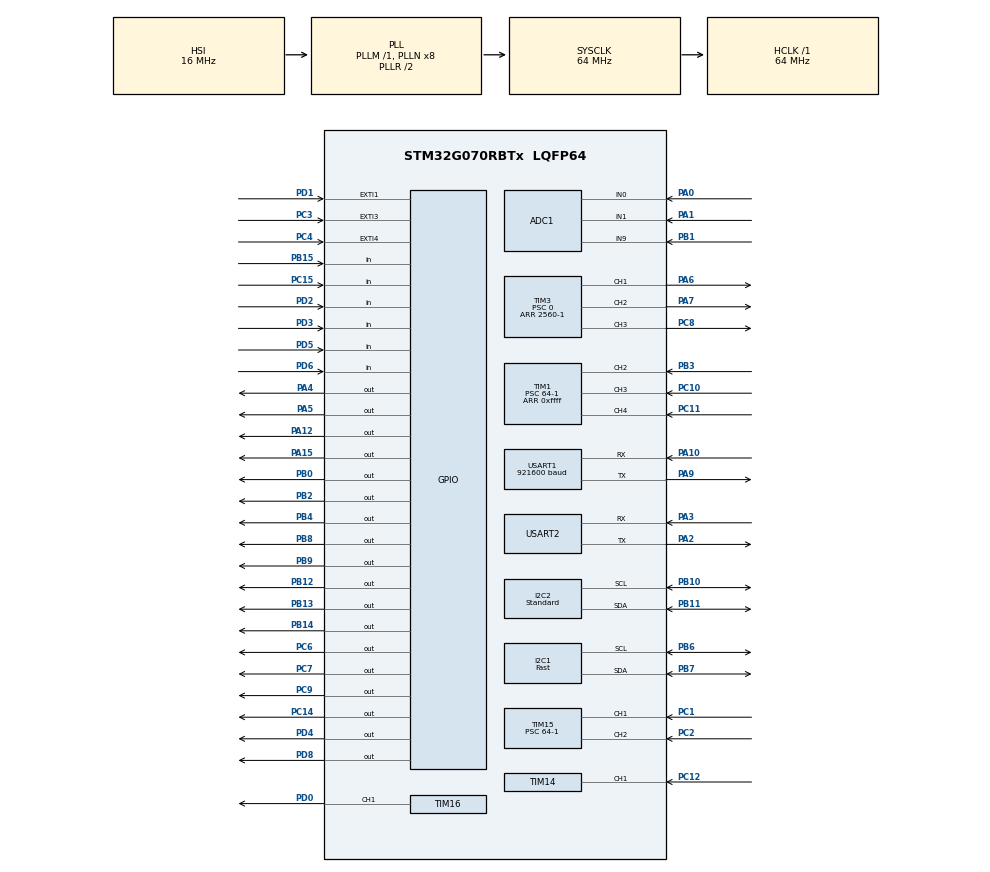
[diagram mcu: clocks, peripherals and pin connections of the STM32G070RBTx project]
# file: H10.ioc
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ADC1.Channel-14\#ChannelRegularConversion=ADC_CHANNEL_9
ADC1.Channel-17\#ChannelRegularConversion=ADC_CHANNEL_0
ADC1.Channel-18\#ChannelRegularConversion=ADC_CHANNEL_1
ADC1.ClockPrescaler=ADC_CLOCK_SYNC_PCLK_DIV2
ADC1.ContinuousConvMode=ENABLE
ADC1.DMAContinuousRequests=ENABLE
ADC1.DiscontinuousConvMode=DISABLE
ADC1.NbrOfConversion=3
ADC1.NbrOfConversionFlag=1
ADC1.Rank-14\#ChannelRegularConversion=1
ADC1.Rank-17\#ChannelRegularConversion=2
ADC1.Rank-18\#ChannelRegularConversion=3
ADC1.SamplingTime-14\#ChannelRegularConversion=ADC_SAMPLINGTIME_COMMON_1
ADC1.SamplingTime-17\#ChannelRegularConversion=ADC_SAMPLINGTIME_COMMON_1
ADC1.SamplingTime-18\#ChannelRegularConversion=ADC_SAMPLINGTIME_COMMON_1
ADC1.SamplingTimeCommon1=ADC_SAMPLETIME_39CYCLES_5
ADC1.SamplingTimeCommon2=ADC_SAMPLETIME_19CYCLES_5
ADC1.master=1
Dma.ADC1.1.Direction=DMA_PERIPH_TO_MEMORY
Dma.ADC1.1.EventEnable=DISABLE
Dma.ADC1.1.Instance=DMA1_Channel2
Dma.ADC1.1.MemDataAlignment=DMA_MDATAALIGN_HALFWORD
Dma.ADC1.1.MemInc=DMA_MINC_ENABLE
Dma.ADC1.1.Mode=DMA_NORMAL
Dma.ADC1.1.PeriphDataAlignment=DMA_PDATAALIGN_HALFWORD
Dma.ADC1.1.PeriphInc=DMA_PINC_DISABLE
Dma.ADC1.1.Polarity=HAL_DMAMUX_REQ_GEN_RISING
Dma.ADC1.1.Priority=DMA_PRIORITY_LOW
Dma.ADC1.1.RequestNumber=1
Dma.ADC1.1.SignalID=NONE
Dma.ADC1.1.SyncEnable=DISABLE
Dma.ADC1.1.SyncPolarity=HAL_DMAMUX_SYNC_NO_EVENT
Dma.ADC1.1.SyncRequestNumber=1
Dma.ADC1.1.SyncSignalID=NONE
Dma.Request0=USART1_RX
Dma.Request1=ADC1
Dma.USART1_RX.0.Direction=DMA_PERIPH_TO_MEMORY
Dma.USART1_RX.0.EventEnable=DISABLE
Dma.USART1_RX.0.Instance=DMA1_Channel1
Dma.USART1_RX.0.MemDataAlignment=DMA_MDATAALIGN_BYTE
Dma.USART1_RX.0.MemInc=DMA_MINC_ENABLE
Dma.USART1_RX.0.Mode=DMA_NORMAL
Dma.USART1_RX.0.PeriphDataAlignment=DMA_PDATAALIGN_BYTE
Dma.USART1_RX.0.PeriphInc=DMA_PINC_DISABLE
Dma.USART1_RX.0.Polarity=HAL_DMAMUX_REQ_GEN_RISING
Dma.USART1_RX.0.Priority=DMA_PRIORITY_LOW
Dma.USART1_RX.0.RequestNumber=1
Dma.USART1_RX.0.SignalID=NONE
Dma.USART1_RX.0.SyncEnable=DISABLE
Dma.USART1_RX.0.SyncPolarity=HAL_DMAMUX_SYNC_NO_EVENT
Dma.USART1_RX.0.SyncRequestNumber=1
Dma.USART1_RX.0.SyncSignalID=NONE
I2C1.I2C_Speed_Mode=I2C_Fast
I2C1.Timing=0x00602173
I2C2.I2C_Speed_Mode=I2C_Standard
I2C2.Timing=0x10707DBC
IWDG.Prescaler=IWDG_PRESCALER_32
Mcu.Family=STM32G0
Mcu.Name=STM32G070RBTx
Mcu.Package=LQFP64
NRST.Signal=GPXTINRST
NVIC.DMA1_Channel1_IRQn=true\:2\:0\:true\:false\:true\:false\:true
NVIC.DMA1_Channel2_3_IRQn=true\:0\:0\:true\:false\:true\:false\:true
NVIC.EXTI0_1_IRQn=true\:0\:0\:false\:false\:true\:true\:true
NVIC.EXTI2_3_IRQn=true\:0\:0\:false\:false\:true\:true\:true
NVIC.EXTI4_15_IRQn=true\:0\:0\:false\:false\:true\:true\:true
NVIC.TIM14_IRQn=true\:0\:0\:false\:false\:true\:true\:true
NVIC.TIM15_IRQn=true\:0\:0\:false\:false\:true\:true\:true
NVIC.TIM16_IRQn=true\:0\:0\:false\:false\:true\:true\:true
NVIC.TIM1_CC_IRQn=true\:0\:0\:false\:false\:true\:true\:true
NVIC.TIM6_IRQn=true\:0\:0\:false\:false\:true\:true\:true
NVIC.USART1_IRQn=true\:1\:0\:true\:false\:true\:true\:true
PA0.Mode=IN0
PA0.Signal=ADC1_IN0
PA1.Mode=IN1
PA1.Signal=ADC1_IN1
PA10.Mode=Asynchronous
PA10.Signal=USART1_RX
PA12\ [PA10].Signal=GPIO_Output
PA13.Mode=Serial_Wire
PA13.Signal=SYS_SWDIO
PA14-BOOT0.Mode=Serial_Wire
PA14-BOOT0.Signal=SYS_SWCLK
PA15.Signal=GPIO_Output
PA2.Mode=Asynchronous
PA2.Signal=USART2_TX
PA3.Mode=Asynchronous
PA3.Signal=USART2_RX
PA4.Signal=GPIO_Output
PA5.Signal=GPIO_Output
PA6.Signal=S_TIM3_CH1
PA7.Signal=S_TIM3_CH2
PA9.Mode=Asynchronous
PA9.Signal=USART1_TX
PB0.Signal=GPIO_Output
PB1.Mode=IN9
PB1.Signal=ADC1_IN9
PB10.Mode=I2C
PB10.Signal=I2C2_SCL
PB11.Mode=I2C
PB11.Signal=I2C2_SDA
PB12.Signal=GPIO_Output
PB13.Signal=GPIO_Output
PB14.Signal=GPIO_Output
PB15.Signal=GPIO_Input
PB2.Signal=GPIO_Output
PB3.GPIO_PuPd=GPIO_NOPULL
PB3.GPIO_Speed=GPIO_SPEED_FREQ_LOW
PB3.Signal=S_TIM1_CH2
PB4.Signal=GPIO_Output
PB6.Mode=I2C
PB6.Signal=I2C1_SCL
PB7.Mode=I2C
PB7.Signal=I2C1_SDA
PB8.Signal=GPIO_Output
PB9.Signal=GPIO_Output
PC1.Signal=S_TIM15_CH1
PC10.GPIO_PuPd=GPIO_NOPULL
PC10.GPIO_Speed=GPIO_SPEED_FREQ_LOW
PC10.Signal=S_TIM1_CH3
PC11.GPIO_PuPd=GPIO_NOPULL
PC11.GPIO_Speed=GPIO_SPEED_FREQ_LOW
PC11.Signal=S_TIM1_CH4
PC12.Signal=S_TIM14_CH1
PC14-OSC32_IN\ (PC14).Signal=GPIO_Output
PC15-OSC32_OUT\ (PC15).GPIO_PuPd=GPIO_PULLDOWN
PC15-OSC32_OUT\ (PC15).Signal=GPIO_Input
PC2.Signal=S_TIM15_CH2
PC3.GPIO_ModeDefaultEXTI=GPIO_MODE_IT_RISING
PC3.Signal=GPXTI3
PC4.GPIO_ModeDefaultEXTI=GPIO_MODE_IT_RISING
PC4.Signal=GPXTI4
PC6.PinState=GPIO_PIN_RESET
PC6.Signal=GPIO_Output
PC7.Signal=GPIO_Output
PC8.Signal=S_TIM3_CH3
PC9.PinState=GPIO_PIN_SET
PC9.Signal=GPIO_Output
PD0.Signal=S_TIM16_CH1
PD1.GPIO_ModeDefaultEXTI=GPIO_MODE_IT_FALLING
PD1.GPIO_PuPd=GPIO_PULLUP
PD1.Signal=GPXTI1
PD2.Signal=GPIO_Input
PD3.Signal=GPIO_Input
PD4.Signal=GPIO_Output
PD5.Signal=GPIO_Input
PD6.GPIO_PuPd=GPIO_NOPULL
PD6.Signal=GPIO_Input
PD8.Signal=GPIO_Output
ProjectManager.HeapSize=0x200
ProjectManager.StackSize=0x400
ProjectManager.TargetToolchain=MDK-ARM V5
RCC.ADCFreq_Value=64000000
RCC.AHBFreq_Value=64000000
RCC.CortexFreq_Value=64000000
RCC.EXTERNAL_CLOCK_VALUE=48000
RCC.HCLKFreq_Value=64000000
RCC.HSE_VALUE=8000000
RCC.HSI_VALUE=16000000
RCC.LSE_VALUE=32768
RCC.SYSCLKFreq_VALUE=64000000
RCC.SYSCLKSource=RCC_SYSCLKSOURCE_PLLCLK
RCC.VCOOutputFreq_Value=128000000
SH.S_TIM14_CH1.0=TIM14_CH1,Input_Capture1_from_TI1
SH.S_TIM15_CH1.0=TIM15_CH1,Input_Capture1_from_TI1
SH.S_TIM15_CH2.0=TIM15_CH2,Input_Capture2_from_TI2
SH.S_TIM16_CH1.0=TIM16_CH1,PWM Generation1 CH1
SH.S_TIM1_CH2.0=TIM1_CH2,Input_Capture2_from_TI2
SH.S_TIM1_CH3.0=TIM1_CH3,Input_Capture3_from_TI3
SH.S_TIM1_CH4.0=TIM1_CH4,Input_Capture4_from_TI4
SH.S_TIM3_CH1.0=TIM3_CH1,PWM Generation1 CH1
SH.S_TIM3_CH2.0=TIM3_CH2,PWM Generation2 CH2
SH.S_TIM3_CH3.0=TIM3_CH3,PWM Generation3 CH3
TIM1.Channel-Input_Capture2_from_TI2=TIM_CHANNEL_2
TIM1.Channel-Input_Capture3_from_TI3=TIM_CHANNEL_3
TIM1.Channel-Input_Capture4_from_TI4=TIM_CHANNEL_4
TIM1.Period=0xffff
TIM1.Prescaler=64-1
TIM14.Channel=TIM_CHANNEL_1
TIM14.Period=0xffff
TIM14.Prescaler=64-1
TIM15.Channel-Input_Capture1_from_TI1=TIM_CHANNEL_1
TIM15.Channel-Input_Capture2_from_TI2=TIM_CHANNEL_2
TIM15.Period=0xffff
TIM15.Prescaler=64-1
TIM16.Channel=TIM_CHANNEL_1
TIM16.Period=1000-1
TIM16.Prescaler=64-1
TIM16.Pulse=500
TIM3.Channel-PWM\ Generation1\ CH1=TIM_CHANNEL_1
TIM3.Channel-PWM\ Generation2\ CH2=TIM_CHANNEL_2
TIM3.Channel-PWM\ Generation3\ CH3=TIM_CHANNEL_3
TIM3.Period=2560-1
TIM3.Prescaler=0
TIM6.Period=100-1
TIM6.Prescaler=32-1
USART1.BaudRate=921600
USART1.VirtualMode-Asynchronous=VM_ASYNC
USART1.WordLength=WORDLENGTH_8B
USART2.VirtualMode-Asynchronous=VM_ASYNC
USART2.WordLength=WORDLENGTH_8B
VP_IWDG_VS_IWDG.Mode=IWDG_Activate
VP_SYS_VS_DBSignals.Mode=DisableDeadBatterySignals
VP_TIM14_VS_ClockSourceINT.Mode=Enable_Timer
VP_TIM16_VS_ClockSourceINT.Mode=Enable_Timer
VP_TIM6_VS_ClockSourceINT.Mode=Enable_Timer
board=custom

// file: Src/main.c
/* USER CODE BEGIN Header */
/**
  ******************************************************************************
  * @file           : main.c
  * @brief          : Main program body
  ******************************************************************************
  * @attention
  *
  * <h2><center>&copy; Copyright (c) 2020 STMicroelectronics.
  * All rights reserved.</center></h2>
  *
  * This software component is licensed by ST under BSD 3-Clause license,
  * the "License"; You may not use this file except in compliance with the
  * License. You may obtain a copy of the License at:
  *                        opensource.org/licenses/BSD-3-Clause
  *
  ******************************************************************************
  */
/* USER CODE END Header */

#include "main.h"
#include "adc.h"
#include "dma.h"
#include "i2c.h"
#include "iwdg.h"
#include "tim.h"
#include "usart.h"
#include "gpio.h"

/* USER CODE BEGIN Includes */
#include "serial_communication.h"
/* USER CODE END Includes */

/* USER CODE BEGIN PD */
#define TIME_BASE_TIMER         (50)
#define TIME_BASE_50US_1MS    	(1000  / TIME_BASE_TIMER)
#define TIME_BASE_50US_4MS    	(4000  / TIME_BASE_TIMER)
#define TIME_BASE_50US_8MS    	(8000  / TIME_BASE_TIMER)
#define TIME_BASE_50US_16MS     (16000  / TIME_BASE_TIMER)
#define TIME_BASE_50US_24MS     (24000  / TIME_BASE_TIMER)
#define TIME_BASE_50US_32MS     (32000  / TIME_BASE_TIMER)
#define TIME_BASE_50US_64MS     (64000  / TIME_BASE_TIMER)
#define TIME_BASE_50US_256MS    (256000  / TIME_BASE_TIMER)
#define TIME_BASE_50US_512MS    (512000  / TIME_BASE_TIMER)
#define TIME_BASE_50US_1S       (1000000 / TIME_BASE_TIMER)
#define TIME_BASE_50US_5S       (5384000 / TIME_BASE_TIMER)
#define TIME_BASE_50US_10S      (10000000/ TIME_BASE_TIMER)
#define TIME_BASE_50US_20S      (20000000/ TIME_BASE_TIMER)
#define TIME_BASE_50US_30S      (30000000/ TIME_BASE_TIMER)
/* USER CODE END PD */

/* USER CODE BEGIN PV */
volatile uint32_t CounterBaseStep;
volatile uint32_t Counter1ms = 0;
volatile uint32_t Counter4ms = 0;
volatile uint32_t Counter8ms = 0;
volatile uint32_t Counter16ms = 0;
volatile uint32_t Counter24ms = 0;
volatile uint32_t Counter32ms = 0;
volatile uint32_t Counter64ms = 0;
volatile uint32_t Counter256ms = 0;
volatile uint32_t Counter512ms = 0;
volatile uint32_t Counter1s = 0;
volatile uint32_t Counter5s = 0;
volatile uint32_t Counter20s = 0;
volatile uint32_t CounterBaseStep = 0;
volatile uint32_t LedCounter = 0;

volatile _Bool Flag1ms = 0;
volatile _Bool Flag4ms = 0;
volatile _Bool Flag8ms = 0;
volatile _Bool Flag16ms = 0;
volatile _Bool Flag24ms = 0;
volatile _Bool Flag32ms = 0;
volatile _Bool Flag64ms = 0;
volatile _Bool Flag256ms = 0;
volatile _Bool Flag512ms = 0;
volatile _Bool Flag1s = 0;
volatile _Bool Flag5s = 0;
volatile _Bool Flag20s = 0;

volatile _Bool Flag_Sxrd241_Alarm = 0;
volatile _Bool Flag_Projector_On = 1;
volatile _Bool Flag_Lvds_Clk_Stb = 1;
volatile _Bool Flag_LT9211_Int = 0;
volatile _Bool g_FanNOFlag = 1;
volatile _Bool g_FanMode = 0;
volatile _Bool g_UserDisplayOff = 0;
volatile _Bool Flag_MatMode = 0;
volatile _Bool FlagIwdg = 1;
uint16_t g_overtemp_cnt = 0;
uint16_t g_temp52_cnt = 0;
_Bool g_overtemp_flag = 1;
_Bool g_temp52_flag = 1;

void Fan_Auto_Control(void);
void SysTaskDispatch(void);
extern void Variables_Init(void);
extern void ThreePhaseMotorDriver_init(void);
extern void LcosSetKst(void);
extern void LcosSetWP(void);
extern void LcosSetIntBCHS(void);
extern void LcosSetGain(void);
extern void LcosSetFlip(void);
extern void LcosInitWec(void);
extern void LcosInitCSCO(void);
extern void f(void);
extern void LcosInitSHP(void);
extern void GetParameter(void);
extern void GetColorTempParameter(void);
extern void ReceiveUart1Data(void);
extern HAL_StatusTypeDef SetBootPinMode(void);
extern void Lcos_CheckRegError(uint8_t local);
extern 	uint8_t GetFanSpeed(void);
extern void MotorLimit_DealWith(uint8_t lr);
extern uint8_t Motor_start(uint8_t dir, uint16_t steps);
extern void UartCommandParser(void);
extern void LcosSetColorTempBlock(void);
extern void LcosSetBchs(void);
extern void LcosSetCe1d(void);
extern void LcosSetCebc(void);
extern void LcosSetCeacc(void);
extern void LcosInitDIZ(void);
extern void LcosInitLED();
extern uint8_t getIwdgFlag(void);
#ifdef CONFIG_AD5316R_CURRENT
extern void SetRGBCurrentAD5316R(void);
#endif
/* USER CODE END PV */

void SystemClock_Config(void);

/* USER CODE BEGIN 0 */
void FanInit(void)
{
	SetFan12Speed(FAN_SPEED_DEFAULT_L);
	SetFan34Speed(FAN_SPEED_DEFAULT_R);
	SetFan5Speed(FAN_SPEED_DEFAULT_O);
}

void SetRGB_Enable(GPIO_PinState value)
{
	HAL_GPIO_WritePin(GPIOB, GPIO_PIN_0, value); //LD_EN enable LD DC-DC EN
}

void 	display_on(uint16_t on)
{
	if(on==1)
	{
		SetRGB_Enable(GPIO_PIN_SET);
		FanInit();
	}
	else
	{
		SetRGB_Enable(GPIO_PIN_RESET);
	}
}

void GpioConfig(void)
{
  HAL_GPIO_WritePin(GPIOB, GPIO_PIN_2, GPIO_PIN_SET);    //FAN_OFF enable Fan
  HAL_GPIO_WritePin(GPIOB, GPIO_PIN_14, GPIO_PIN_SET);    //CX3554_3V3_EN
	LcosVideoMute(VIDEO_UNMUTE);
}

void LT89121_Reset(void)
{
	HAL_GPIO_WritePin(GPIOC, GPIO_PIN_14, GPIO_PIN_RESET);
	HAL_Delay(20);
	HAL_GPIO_WritePin(GPIOC, GPIO_PIN_14, GPIO_PIN_SET); //LT89121 reset
}

#define CONFIG_IWDG

/* USER CODE END 0 */

int main(void)
{

  /* MCU Configuration--------------------------------------------------------*/

  /* Reset of all peripherals, Initializes the Flash interface and the Systick. */
  HAL_Init();

  /* Configure the system clock */
  SystemClock_Config();

  /* Initialize all configured peripherals */
  MX_GPIO_Init();
  MX_DMA_Init();
  MX_TIM6_Init();
  MX_TIM3_Init();
  MX_USART1_UART_Init();
  MX_USART2_UART_Init();
  MX_ADC1_Init();
  MX_I2C1_Init();
  MX_TIM15_Init();
  MX_I2C2_Init();
  MX_TIM1_Init();
  MX_TIM16_Init();
  //MX_IWDG_Init();
  MX_TIM14_Init();
  /* USER CODE BEGIN 2 */
	/******************************************************************/
  GetParameter();
	GetColorTempParameter();

	Variables_Init();
  GpioConfig();
	FanInit();
	ThreePhaseMotorDriver_init();
  HAL_TIM_Base_Start_IT(&htim6);
	/******************************************************************/
#ifdef CONFIG_AD5316R_CURRENT
		SetRGBCurrentAD5316R();
#else
		SetRGBCurrent();
#endif
  LcosInitSequence();
  LcosSetPatternSize();
  LcosSetIntPattern();
	LcosSetIntBCHS();
	/******************************************************************/
#ifdef CONFIG_GRGBBGRG
	LcosInitLED();
#endif
	LcosInitCSCO();
	LcosInitSHP();
	LcosInitWec();
#ifdef CONFIG_GRGBBGRG
	LcosInitDIZ();
#endif
	/******************************************************************/
	LcosSetColorTempBlock();
	LcosSetKst();
	LcosSetWP();
	LcosSetBchs();
	LcosSetCe1d();
	LcosSetCebc();
#ifdef CONFIG_CEACC
	LcosSetCeacc();
#endif
	/******************************************************************/
	HAL_GPIO_WritePin(GPIOD,GPIO_PIN_1,GPIO_PIN_SET);//lt6911 reset pin should be set high.
	SetRGB_Enable(GPIO_PIN_SET); //LD_EN
	/******************************************************************/
	SetBootPinMode();
	ReceiveUart1Data();
#ifdef CONFIG_IWDG
	if(getIwdgFlag() != 0)
	{
		MX_IWDG_Init();
	}
#endif
  /* USER CODE END 2 */

  /* Infinite loop */
  /* USER CODE BEGIN WHILE */
	printf("LED : Q8WP, Version: %d.%d.%d \r\n", VERSION0, VERSION1, VERSION2);
	printf("BUILD_VERSION_DATE %s_%s\n", __DATE__, __TIME__);
  while (1)
  {
    /* USER CODE END WHILE */

    /* USER CODE BEGIN 3 */
    SysTaskDispatch();

#ifdef CONFIG_IWDG
		if(getIwdgFlag() != 0)
		{
			/* Refresh the IWDG 4S overflow*/
			HAL_IWDG_Refresh(&hiwdg);
		}
#endif
  }
  /* USER CODE END 3 */
}

void SystemClock_Config(void)
{
  RCC_OscInitTypeDef RCC_OscInitStruct = {0};
  RCC_ClkInitTypeDef RCC_ClkInitStruct = {0};
  RCC_PeriphCLKInitTypeDef PeriphClkInit = {0};

  /** Configure the main internal regulator output voltage
  */
  HAL_PWREx_ControlVoltageScaling(PWR_REGULATOR_VOLTAGE_SCALE1);
  /** Initializes the CPU, AHB and APB busses clocks
  */
  RCC_OscInitStruct.OscillatorType = RCC_OSCILLATORTYPE_HSI|RCC_OSCILLATORTYPE_LSI;
  RCC_OscInitStruct.HSIState = RCC_HSI_ON;
  RCC_OscInitStruct.HSIDiv = RCC_HSI_DIV1;
  RCC_OscInitStruct.HSICalibrationValue = RCC_HSICALIBRATION_DEFAULT;
  RCC_OscInitStruct.LSIState = RCC_LSI_ON;
  RCC_OscInitStruct.PLL.PLLState = RCC_PLL_ON;
  RCC_OscInitStruct.PLL.PLLSource = RCC_PLLSOURCE_HSI;
  RCC_OscInitStruct.PLL.PLLM = RCC_PLLM_DIV1;
  RCC_OscInitStruct.PLL.PLLN = 8;
  RCC_OscInitStruct.PLL.PLLP = RCC_PLLP_DIV2;
  RCC_OscInitStruct.PLL.PLLR = RCC_PLLR_DIV2;
  if (HAL_RCC_OscConfig(&RCC_OscInitStruct) != HAL_OK)
  {
    Error_Handler();
  }
  /** Initializes the CPU, AHB and APB busses clocks
  */
  RCC_ClkInitStruct.ClockType = RCC_CLOCKTYPE_HCLK|RCC_CLOCKTYPE_SYSCLK
                              |RCC_CLOCKTYPE_PCLK1;
  RCC_ClkInitStruct.SYSCLKSource = RCC_SYSCLKSOURCE_PLLCLK;
  RCC_ClkInitStruct.AHBCLKDivider = RCC_SYSCLK_DIV1;
  RCC_ClkInitStruct.APB1CLKDivider = RCC_HCLK_DIV1;

  if (HAL_RCC_ClockConfig(&RCC_ClkInitStruct, FLASH_LATENCY_2) != HAL_OK)
  {
    Error_Handler();
  }
  /** Initializes the peripherals clocks
  */
  PeriphClkInit.PeriphClockSelection = RCC_PERIPHCLK_USART1|RCC_PERIPHCLK_USART2
                              |RCC_PERIPHCLK_I2C1|RCC_PERIPHCLK_ADC;
  PeriphClkInit.Usart1ClockSelection = RCC_USART1CLKSOURCE_PCLK1;
  PeriphClkInit.Usart2ClockSelection = RCC_USART2CLKSOURCE_PCLK1;
  PeriphClkInit.I2c1ClockSelection = RCC_I2C1CLKSOURCE_PCLK1;
  PeriphClkInit.AdcClockSelection = RCC_ADCCLKSOURCE_SYSCLK;
  if (HAL_RCCEx_PeriphCLKConfig(&PeriphClkInit) != HAL_OK)
  {
    Error_Handler();
  }
}

/* USER CODE BEGIN 4 */

void HAL_GPIO_EXTI_Rising_Callback(uint16_t GPIO_Pin)
{
	printf("HAL_GPIO_EXTI_Rising_Callback: 0x%x \r\n", GPIO_Pin);

	if((GPIO_PIN_3 == GPIO_Pin)) /* LIMIT_L interrupt */
	{
			MotorLimit_DealWith(LIMIT_LEFT);
	}

	if((GPIO_PIN_4 == GPIO_Pin)) /*  LIMIT_R interrupt */
	{
			MotorLimit_DealWith(LIMIT_RIGHT);
	}

}

void HAL_GPIO_EXTI_Falling_Callback(uint16_t GPIO_Pin)
{
	uint8_t val;

	printf("HAL_GPIO_EXTI_Falling_Callback: 0x%x \r\n", GPIO_Pin);
	if((GPIO_PIN_15 == GPIO_Pin) && (0 == Flag_Sxrd241_Alarm)) /* SXRD241 SHORT DET interrupt */
	{
		val  = HAL_GPIO_ReadPin(GPIOB,GPIO_PIN_15);
		printf("HAL_GPIO_EXTI_Callback: PB15 val:0x%x \r\n", val);
		Flag_Sxrd241_Alarm = 1;
	}

#if 0
	if((GPIO_PIN_8 == GPIO_Pin)) /* PA8 LT9211 interrupt */
	{
		val = HAL_GPIO_ReadPin(GPIOD,GPIO_PIN_9);
		printf("HAL_GPIO_EXTI_Callback: PD9 val:0x%x \r\n", val);
		Flag_LT9211_Int = 1;
	}
#endif

#ifdef CONFIG_MAT
	if((GPIO_PIN_1 == GPIO_Pin)) /* PD1 MAT MODE		*/
	{
		val = HAL_GPIO_ReadPin(GPIOD,GPIO_PIN_1);
		printf("HAL_GPIO_EXTI_Callback: PD1 val:0x%x \r\n", val);
		Flag_MatMode = 1;
	}
#endif

}

void HAL_TIM_PeriodElapsedCallback(TIM_HandleTypeDef *htim)
{
  if(htim->Instance == htim6.Instance)
  {
			if(CounterBaseStep < 0xFFFFFFFF)
			{
				CounterBaseStep++;
			}
			else
			{
				CounterBaseStep = 0;
			}
			if(LedCounter > 0)
			{
				LedCounter--;
			}
			else
			{
				LedCounter = 0xFFFFFFFF;
			}

			if(TIME_BASE_50US_1MS == ++Counter1ms)
  	  {
				Flag1ms = 1;
				Counter1ms = 0;
  	  }

			if(TIME_BASE_50US_4MS == ++Counter4ms)
  	  {
				Flag4ms = 1;
				Counter4ms = 0;
  	  }

			if(TIME_BASE_50US_8MS == ++Counter8ms)
  	  {
				Flag8ms = 1;
				Counter8ms = 0;
  	  }

			if(TIME_BASE_50US_16MS == ++Counter16ms)
  	  {
				Flag16ms = 1;
				Counter16ms = 0;
  	  }

			if(TIME_BASE_50US_24MS == ++Counter24ms)
  	  {
				Flag24ms = 1;
				Counter24ms = 0;
  	  }
			if(TIME_BASE_50US_32MS == ++Counter32ms)
  	  {
				Flag32ms = 1;
				Counter32ms = 0;
  	  }
			if(TIME_BASE_50US_64MS == ++Counter64ms)
  	  {
				Flag64ms = 1;
				Counter64ms = 0;
  	  }

  	  if(TIME_BASE_50US_256MS == ++Counter256ms)
  	  {
				Flag256ms = 1;
				Counter256ms = 0;
  	  }
  	  if(TIME_BASE_50US_512MS == ++Counter512ms)
  	  {
				Flag512ms = 1;
				Counter512ms = 0;
  	  }
  	  if(TIME_BASE_50US_1S == ++Counter1s)
  	  {
				Flag1s = 1;
				Counter1s = 0;
  	  }
			if(TIME_BASE_50US_5S == ++Counter5s)
  	  {
				Flag5s = 1;
				Counter5s = 0;
  	  }
			if(TIME_BASE_50US_20S == ++Counter20s)
  	  {
				Flag20s = 1;
				Counter20s = 0;
  	  }
  }
}

/* 50us/step, 计时误差是50us*/
void Delay50Us(uint32_t timer)
{
  CounterBaseStep = 1;
  while(CounterBaseStep <= timer);
  return;
}

void SysTask0ms(void)
{

}

void SysTask1ms(void)
{

}

void SysTask4ms(void)
{
	UartCommandParser();
}
void SysTask8ms(void)
{

}

void SysTask16ms(void)
{
	Fan_Auto_Control();
}

void SysTask256ms(void)
{
	if(Flag_Projector_On == 0)
	{
		HAL_GPIO_TogglePin(GPIOB,GPIO_PIN_9);
	}
}

void SysTask512ms(void)
{

}

#ifdef CONFIG_MAT
int cnt_1s = 0;
_Bool Flag_Limit_OK = 1;
extern uint8_t LimitPosition;
#endif

void SysTask1s(void)
{
	if(Flag_Projector_On == 1)
	{
		HAL_GPIO_TogglePin(GPIOB,GPIO_PIN_9);
	}
/*************************MAT TEST *************************************/
#ifdef CONFIG_MAT
  static int flag_enter = 1;

	if(Flag_MatMode != 0 && flag_enter)
	{
		flag_enter = 0;
	}

	//motor test
	if(Flag_MatMode != 0 && Flag_Limit_OK)
	{
		if(cnt_1s == 0)
		{
			if(LimitPosition == LIMIT_LEFT)
				Motor_start(0, 10000);
			else
				Flag_Limit_OK = 0;
		}
		else if(cnt_1s == 5)
		{
			if(LimitPosition == LIMIT_RIGHT)
				Motor_start(1, 10000);
			else
				Flag_Limit_OK = 0;
		}

		cnt_1s++;
		if(cnt_1s == 10) cnt_1s = 0;
	}
#endif
}

void SysTask5s(void)
{

}
void SysTask20s(void)
{
	Fan_Auto_Control();
}
void SysTaskDispatch(void)
{
    SysTask0ms();
		if(Flag1ms)
		{
		   Flag1ms = 0;
		   SysTask1ms();
		}
		if(Flag4ms)
		{
		   Flag4ms = 0;
		   SysTask4ms();
		}
		if(Flag8ms)
		{
		   Flag8ms = 0;
		   SysTask8ms();
		}

		if(Flag16ms)
		{
		   Flag16ms = 0;
		   SysTask16ms();
		}
		if(Flag24ms)
		{
		   Flag24ms = 0;
		}
		if(Flag32ms)
		{
		   Flag32ms = 0;
		}
		if(Flag64ms)
		{
		   Flag64ms = 0;
		}
		if(Flag256ms)
		{
		   Flag256ms = 0;
			 SysTask256ms();
		}
		if(Flag512ms)
		{
		   Flag512ms = 0;
		   SysTask512ms();
		}
		if(Flag1s)
		{
		   Flag1s = 0;
		   SysTask1s();
		}
		if(Flag5s)
		{
		   Flag5s = 0;
		   SysTask5s();
		}
		if(Flag20s)
		{
		   Flag20s = 0;
		   SysTask20s();
		}
}
/*-------------------------------------------------------------------------------------------*/
const uint16_t LD_RT_TABLE[] =
{/* 0~55   45*/
	3318,  //0 degree
	3151,
	2993,
	2844,
	2703,
	2570,
	2444,
	2325,
	2213,
	2107,
	2007,
	1912,
	1822,
	1736,
	1656,
	1579,
	1507,
	1438,
	1373,
	1311,
	1252,
	1196,
	1144,
	1093,
	1045,
	1000,		//25
	957,
	916,
	877,
	839,
	804,
	770,
	738,
	708,
	679,
	651,
	624,
	599,
	575,
	552,
	530,
	509,
	489,
	470,
	452,
	434,
	417,
	401,
	386,
	372,
	358,
	344,
	332,
	319,
	308,
	296,  //55 degree
	286,
	275,
	265,
	256,
	247,
	238,
	230,
	222,
	214,
	207,
	199,
	193,
	186,
	180,
	174,
	168,
	162,
	157,
	152,
	147,
	142,
	137,
	133,
	129,
	125,
	121,
	117,
	113,
	110,
	106,
	103,
	100,
	97,
	94,
	91   //90 degree
};

uint16_t GetLd_RT_Temp(uint16_t adc_val)
{
	uint16_t ohm, i;

	ohm = (4096000/adc_val - 1000);
	if(ohm >  LD_RT_TABLE[0])
	{
		//printf("LD OHM:%d \r\n",ohm);
		if (ohm > 18744) return 50; //no ld RT register
		return 0;
	}

	for (i = 0; i < sizeof(LD_RT_TABLE)/sizeof(uint16_t); i++)
	{
		if(LD_RT_TABLE[i] < ohm ) break;
	}

	return i;
}

/* -10 ~ +60  Recommended temperature is +45 to +55 */
uint16_t GetLcos_RT_Temp(uint16_t adc_val)
{//temp = (1839 - vol)/11
	uint16_t vol;

	vol = (adc_val*3300)/4096;
	if(vol > 1839)
	{
		//printf("LCOS VOL:%d \r\n",vol);
		return 0;
	}

	return (1839 - vol)/11;
}
/*-------------------------------------------------------------------------------------------*/
//new fan parameter
const uint8_t LD_CTL_TABLE12[][2] =
{/* 0~55   45*/
	{41, FAN_SPEED_DEFAULT_L},
	{42, 40},
	{43, 40},
	{44, 40},
	{45, 40},
	{46, 40},
	{47, 40},
	{48, 40},
	{49, 40},
	{50, 40},
	{51, 40},
	{52, 40},
	{53, 40},
	{54, 40},
	{55, 40}
};

const uint8_t LD_CTL_TABLE34[][2] =
{/* 0~55   45*/
	{41, FAN_SPEED_DEFAULT_R},
	{42, 40},
	{43, 40},
	{44, 40},
	{45, 40},
	{46, 40},
	{47, 40},
	{48, 40},
	{49, 40},
	{50, 40},
	{51, 40},
	{52, 40},
	{53, 40},
	{54, 40},
	{55, 40}
};

uint8_t get_ld_fan12pwm(uint8_t temp)
{
	uint8_t i;
	static uint8_t s_pwm = 0, s_temp = 0;

	if(temp < LD_CTL_TABLE12[0][0]) return LD_CTL_TABLE12[0][1];

	if(temp == s_temp - 1 || temp == s_temp - 2)
	{
		return s_pwm;
	}

	for (i = 0; i < sizeof(LD_CTL_TABLE12)/sizeof(uint8_t)/2; i++)
	{
		if(LD_CTL_TABLE12[i][0] == temp )
		{
			s_temp = temp;
			s_pwm = LD_CTL_TABLE12[i][1];
			return s_pwm;
		}
	}

	s_temp = 55;
	return FAN_SPEED_FULL;
}

uint8_t get_ld_fan34pwm(uint8_t temp)
{
	uint8_t i;
	static uint8_t s_pwm = 0, s_temp = 0;

	if(temp < LD_CTL_TABLE34[0][0]) return LD_CTL_TABLE34[0][1];

	if(temp == s_temp - 1 || temp == s_temp - 2)
	{
		return s_pwm;
	}

	for (i = 0; i < sizeof(LD_CTL_TABLE34)/sizeof(uint8_t)/2; i++)
	{
		if(LD_CTL_TABLE34[i][0] == temp )
		{
			s_temp = temp;
			s_pwm = LD_CTL_TABLE34[i][1];
			return s_pwm;
		}
	}

	s_temp = 55;
	return FAN_SPEED_FULL;
}

const uint8_t LCOS_CTL_TABLE[][2] =
{/*-10~60    +45 to +55 */
	{44, FAN_SPEED_DEFAULT_O},
	{45, FAN_SPEED_DEFAULT_O},
	{46, FAN_SPEED_DEFAULT_O},
	{47, FAN_SPEED_DEFAULT_O},
	{48, FAN_SPEED_DEFAULT_O},
	{49, FAN_SPEED_DEFAULT_O},
	{50, FAN_SPEED_DEFAULT_O},
	{51, 40},
	{52, 50},
	{53, 50},
	{54, 60},
	{55, 70},
	{56, 80},
	{57, 90},
	{58, 100},
	{59, 100},
	{60, 100}
};

uint8_t get_lcos_fanpwm(uint8_t temp)
{
	uint8_t i;

	if(temp < LCOS_CTL_TABLE[0][0]) return LCOS_CTL_TABLE[0][1];

	for (i = 0; i < sizeof(LCOS_CTL_TABLE)/sizeof(uint8_t)/2; i++)
	{
		if(LCOS_CTL_TABLE[i][0] == temp ) return LCOS_CTL_TABLE[i][1];
	}

	return FAN_SPEED_FULL;
}
#define TEMP_OVER_CNT   	3   //1min
#define TEMP_CLOSE_CNT   	9   //3min
void Fan_Auto_Control(void)
{
	uint16_t ld_adc = 0, lcos_adc = 0;
	uint16_t adc_val[3];
	uint16_t ld_temp, lcos_temp;
	uint8_t fan12pwm, fan34pwm, fan5pwm;

	ld_adc = adc_GetAdcVal(adc_val);
	lcos_adc = adc_val[2];
	ld_temp = GetLd_RT_Temp(ld_adc);
	lcos_temp = GetLcos_RT_Temp(lcos_adc);
	//printf("g_FanMode %d, LD_TEMP:%d LCOS_TEMP:%d  LD ADC:%d  LCOS ADC:%d \r\n", g_FanMode, ld_temp, lcos_temp, ld_adc, lcos_adc);
	//GetFanSpeed();
#if 1
	if(!g_FanMode)
	{
		if(Flag_Projector_On == 1)
		{
			fan12pwm = get_ld_fan12pwm(ld_temp);
			fan34pwm = get_ld_fan34pwm(ld_temp);
			fan5pwm = get_lcos_fanpwm(lcos_temp);

			if(g_UserDisplayOff && (ld_temp <= 40))
			{//Low LCOS temperature
				fan12pwm = 0;
				fan34pwm = 0;
				fan5pwm = 0;
			}
			//printf("fan12pwm:%d fan34pwm:%d  fan5pwm:%d  \r\n",fan12pwm, fan34pwm, fan5pwm);
			SetFan12Speed(fan12pwm);
			SetFan34Speed(fan34pwm);
			SetFan5Speed(fan5pwm);
		}

		if(ld_temp > 55 || lcos_temp > 60)
		{
			g_overtemp_cnt++;
			if(g_overtemp_cnt > TEMP_OVER_CNT)
			{
				if(g_overtemp_flag != 0)
				{
					g_overtemp_flag = 0;
					HAL_GPIO_WritePin(GPIOD, GPIO_PIN_4, GPIO_PIN_RESET);
					HAL_Delay(120);
					HAL_GPIO_WritePin(GPIOD, GPIO_PIN_4, GPIO_PIN_SET);
				}
			}

			if(g_overtemp_cnt > TEMP_CLOSE_CNT)
			{
				if(Flag_Projector_On != 0)
				{
					Flag_Projector_On = 0;
					SetRGB_Enable((GPIO_PinState)Flag_Projector_On);
				}
			}
		}
		else if(ld_temp > 52)
		{
			g_temp52_cnt++;
			if(g_temp52_cnt > TEMP_OVER_CNT)
			{
				if(g_temp52_flag != 0)
				{
					g_temp52_flag = 0;
					HAL_GPIO_WritePin(GPIOD, GPIO_PIN_4, GPIO_PIN_RESET);
					HAL_Delay(120);
					HAL_GPIO_WritePin(GPIOD, GPIO_PIN_4, GPIO_PIN_SET);
				}
			}
		}
		else
		{
			g_overtemp_cnt = 0;
			g_overtemp_flag = 1;
			g_temp52_cnt = 0;
			g_temp52_flag = 1;

			if(ld_temp < 45 && lcos_temp < 48)
			{
				if(Flag_Projector_On != 1)
				{
					Flag_Projector_On = 1;
					SetRGB_Enable((GPIO_PinState)Flag_Projector_On);
				}
			}
		}

	}
#endif
}
/*-------------------------------------------------------------------------------------------*/

/* USER CODE END 4 */

void Error_Handler(void)
{
  /* USER CODE BEGIN Error_Handler_Debug */
  /* User can add his own implementation to report the HAL error return state */
	printf("Error: %s  line:%d \r\n",__FILE__, __LINE__);
  /* USER CODE END Error_Handler_Debug */
}

#ifdef  USE_FULL_ASSERT
/**
  * @brief  Reports the name of the source file and the source line number
  *         where the assert_param error has occurred.
  * @param  file: pointer to the source file name
  * @param  line: assert_param error line source number
  * @retval None
  */
void assert_failed(uint8_t *file, uint32_t line)
{
  /* USER CODE BEGIN 6 */
  /* User can add his own implementation to report the file name and line number,
     tex: printf("Wrong parameters value: file %s on line %d\r\n", file, line) */
	printf("Assert:file:%s line:%d \r\n",file, line);
  /* USER CODE END 6 */
}
#endif /* USE_FULL_ASSERT */

/************************ (C) COPYRIGHT STMicroelectronics *****END OF FILE****/
